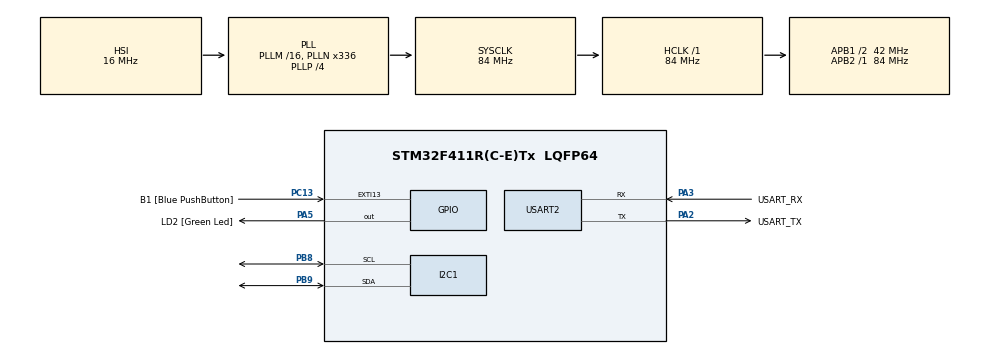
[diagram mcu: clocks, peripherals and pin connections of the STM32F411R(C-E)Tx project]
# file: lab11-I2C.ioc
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Mcu.Family=STM32F4
PC15-OSC32_OUT.Mode=LSE-External-Oscillator
RCC.CortexFreq_Value=84000000
NVIC.I2C1_EV_IRQn=true\:0\:0\:false\:false\:true\:true\:true
PC13-ANTI_TAMP.GPIO_Label=B1 [Blue PushButton]
PA14.GPIO_Label=TCK
PH1\ -\ OSC_OUT.Mode=HSE-External-Clock-Source
RCC.APB1CLKDivider=RCC_HCLK_DIV2
PC14-OSC32_IN.Signal=RCC_OSC32_IN
RCC.SYSCLKSource=RCC_SYSCLKSOURCE_PLLCLK
ProjectManager.StackSize=0x400
PA13.Signal=SYS_JTMS-SWDIO
PA3.Mode=Asynchronous
PH0\ -\ OSC_IN.Mode=HSE-External-Clock-Source
PH0\ -\ OSC_IN.Signal=RCC_OSC_IN
ProjectManager.TargetToolchain=STM32CubeIDE
I2C1.I2C_Mode=I2C_Fast
RCC.HCLKFreq_Value=84000000
PB9.Mode=I2C
RCC.APB2TimFreq_Value=84000000
PC15-OSC32_OUT.Signal=RCC_OSC32_OUT
RCC.AHBFreq_Value=84000000
PA5.Signal=GPIO_Output
RCC.HSE_VALUE=8000000
PH1\ -\ OSC_OUT.Signal=RCC_OSC_OUT
board=NUCLEO-F411RE
PC13-ANTI_TAMP.Signal=GPXTI13
RCC.VCOOutputFreq_Value=336000000
RCC.APB2Freq_Value=84000000
PC14-OSC32_IN.Mode=LSE-External-Oscillator
PA14.Mode=Serial_Wire
PA13.Mode=Serial_Wire
NVIC.I2C1_ER_IRQn=true\:0\:0\:false\:false\:true\:true\:true
Mcu.Name=STM32F411R(C-E)Tx
PA2.Signal=USART2_TX
PA13.GPIO_Label=TMS
RCC.FLatency-AdvancedSettings=FLASH_LATENCY_2
RCC.48MHZClocksFreq_Value=84000000
PB3.Signal=SYS_JTDO-SWO
RCC.SYSCLKFreq_VALUE=84000000
Mcu.Package=LQFP64
PB9.Signal=I2C1_SDA
PA5.GPIO_Label=LD2 [Green Led]
USART2.VirtualMode=VM_ASYNC
PC13-ANTI_TAMP.GPIO_ModeDefaultEXTI=GPIO_MODE_IT_FALLING
PA2.GPIO_Label=USART_TX
PA14.Signal=SYS_JTCK-SWCLK
ProjectManager.HeapSize=0x200
RCC.HSI_VALUE=16000000
RCC.PLLP=RCC_PLLP_DIV4
NVIC.PriorityGroup=NVIC_PRIORITYGROUP_0
PB8.Mode=I2C
RCC.PLLN=336
RCC.APB1TimFreq_Value=84000000
PA2.Mode=Asynchronous
PB8.Signal=I2C1_SCL
RCC.APB1Freq_Value=42000000
PA3.GPIO_Label=USART_RX
PA3.Signal=USART2_RX
PB3.GPIO_Label=SWO

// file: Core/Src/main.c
/* USER CODE BEGIN Header */
/**
 ******************************************************************************
 * @file           : main.c
 * @brief          : Main program body
 ******************************************************************************
 * @attention
 *
 * <h2><center>&copy; Copyright (c) 2021 STMicroelectronics.
 * All rights reserved.</center></h2>
 *
 * This software component is licensed by ST under BSD 3-Clause license,
 * the "License"; You may not use this file except in compliance with the
 * License. You may obtain a copy of the License at:
 *                        opensource.org/licenses/BSD-3-Clause
 *
 ******************************************************************************
 */
/* USER CODE END Header */
#include "main.h"

/* USER CODE BEGIN PD */
#define EEPROM_ADDR 0b10100000
#define IOEXPD_ADDR 0b01000000
/* USER CODE END PD */

I2C_HandleTypeDef hi2c1;

UART_HandleTypeDef huart2;

/* USER CODE BEGIN PV */
uint8_t eepromExampleWriteFlag = 0;
uint8_t eepromExampleReadFlag = 0;
uint8_t IOExpdrExampleWriteFlag = 1;
uint8_t IOExpdrExampleReadFlag = 0;
uint8_t eepromDataReadBack[4];
uint8_t IOExpdrDataReadBack;
uint8_t IOExpdrDataWrite = 0b01010101;

uint8_t B1ButtonState[2] = {1,1};
uint8_t MButtonState[4] = {0};
uint32_t ButtonTimeStamp = 0;

/* USER CODE END PV */

void SystemClock_Config(void);
static void MX_GPIO_Init(void);
static void MX_USART2_UART_Init(void);
static void MX_I2C1_Init(void);
/* USER CODE BEGIN PFP */
void EEPROMWriteExample(uint8_t Wdata);
void EEPROMReadExample(uint8_t *Rdata, uint16_t len);

void IOExpenderInit();
void IOExpenderReadPinA(uint8_t *Rdata);
void IOExpenderWritePinB(uint8_t Wdata);

/* USER CODE END PFP */

int main(void)
{

  /* MCU Configuration--------------------------------------------------------*/

  /* Reset of all peripherals, Initializes the Flash interface and the Systick. */
  HAL_Init();

  /* Configure the system clock */
  SystemClock_Config();

  /* Initialize all configured peripherals */
  MX_GPIO_Init();
  MX_USART2_UART_Init();
  MX_I2C1_Init();
  /* USER CODE BEGIN 2 */
  HAL_Delay(100);
  IOExpenderInit();
  /* USER CODE END 2 */

  /* Infinite loop */
  /* USER CODE BEGIN WHILE */
	while (1) {
		B1ButtonState[0] = HAL_GPIO_ReadPin(B1_GPIO_Port, B1_Pin);
		if(B1ButtonState[0] == 0 && B1ButtonState[1] == 1){
			IOExpdrExampleReadFlag = 1;
			eepromExampleWriteFlag = 1;
			IOExpenderReadPinA(&IOExpdrDataReadBack);
			HAL_Delay(10);
			EEPROMWriteExample(IOExpdrDataReadBack);
		}
		if(HAL_GetTick() - ButtonTimeStamp >= 100){
			ButtonTimeStamp = HAL_GetTick();
			IOExpdrExampleWriteFlag = 1;
			eepromExampleReadFlag = 1;
			HAL_Delay(10);
			EEPROMReadExample(eepromDataReadBack, 4);
			HAL_Delay(10);
			IOExpenderWritePinB(eepromDataReadBack[0] | (eepromDataReadBack[1] << 2) | (eepromDataReadBack[2] << 4) | (eepromDataReadBack[3] << 6));
			}
		B1ButtonState[1] = B1ButtonState[0];

    /* USER CODE END WHILE */

	}
}

void SystemClock_Config(void)
{
  RCC_OscInitTypeDef RCC_OscInitStruct = {0};
  RCC_ClkInitTypeDef RCC_ClkInitStruct = {0};

  /** Configure the main internal regulator output voltage
  */
  __HAL_RCC_PWR_CLK_ENABLE();
  __HAL_PWR_VOLTAGESCALING_CONFIG(PWR_REGULATOR_VOLTAGE_SCALE1);
  /** Initializes the RCC Oscillators according to the specified parameters
  * in the RCC_OscInitTypeDef structure.
  */
  RCC_OscInitStruct.OscillatorType = RCC_OSCILLATORTYPE_HSI;
  RCC_OscInitStruct.HSIState = RCC_HSI_ON;
  RCC_OscInitStruct.HSICalibrationValue = RCC_HSICALIBRATION_DEFAULT;
  RCC_OscInitStruct.PLL.PLLState = RCC_PLL_ON;
  RCC_OscInitStruct.PLL.PLLSource = RCC_PLLSOURCE_HSI;
  RCC_OscInitStruct.PLL.PLLM = 16;
  RCC_OscInitStruct.PLL.PLLN = 336;
  RCC_OscInitStruct.PLL.PLLP = RCC_PLLP_DIV4;
  RCC_OscInitStruct.PLL.PLLQ = 4;
  if (HAL_RCC_OscConfig(&RCC_OscInitStruct) != HAL_OK)
  {
    Error_Handler();
  }
  /** Initializes the CPU, AHB and APB buses clocks
  */
  RCC_ClkInitStruct.ClockType = RCC_CLOCKTYPE_HCLK|RCC_CLOCKTYPE_SYSCLK
                              |RCC_CLOCKTYPE_PCLK1|RCC_CLOCKTYPE_PCLK2;
  RCC_ClkInitStruct.SYSCLKSource = RCC_SYSCLKSOURCE_PLLCLK;
  RCC_ClkInitStruct.AHBCLKDivider = RCC_SYSCLK_DIV1;
  RCC_ClkInitStruct.APB1CLKDivider = RCC_HCLK_DIV2;
  RCC_ClkInitStruct.APB2CLKDivider = RCC_HCLK_DIV1;

  if (HAL_RCC_ClockConfig(&RCC_ClkInitStruct, FLASH_LATENCY_2) != HAL_OK)
  {
    Error_Handler();
  }
}

static void MX_I2C1_Init(void)
{

  hi2c1.Instance = I2C1;
  hi2c1.Init.ClockSpeed = 400000;
  hi2c1.Init.DutyCycle = I2C_DUTYCYCLE_2;
  hi2c1.Init.OwnAddress1 = 0;
  hi2c1.Init.AddressingMode = I2C_ADDRESSINGMODE_7BIT;
  hi2c1.Init.DualAddressMode = I2C_DUALADDRESS_DISABLE;
  hi2c1.Init.OwnAddress2 = 0;
  hi2c1.Init.GeneralCallMode = I2C_GENERALCALL_DISABLE;
  hi2c1.Init.NoStretchMode = I2C_NOSTRETCH_DISABLE;
  if (HAL_I2C_Init(&hi2c1) != HAL_OK)
  {
    Error_Handler();
  }

}

static void MX_USART2_UART_Init(void)
{

  huart2.Instance = USART2;
  huart2.Init.BaudRate = 115200;
  huart2.Init.WordLength = UART_WORDLENGTH_8B;
  huart2.Init.StopBits = UART_STOPBITS_1;
  huart2.Init.Parity = UART_PARITY_NONE;
  huart2.Init.Mode = UART_MODE_TX_RX;
  huart2.Init.HwFlowCtl = UART_HWCONTROL_NONE;
  huart2.Init.OverSampling = UART_OVERSAMPLING_16;
  if (HAL_UART_Init(&huart2) != HAL_OK)
  {
    Error_Handler();
  }

}

static void MX_GPIO_Init(void)
{
  GPIO_InitTypeDef GPIO_InitStruct = {0};

  /* GPIO Ports Clock Enable */
  __HAL_RCC_GPIOC_CLK_ENABLE();
  __HAL_RCC_GPIOH_CLK_ENABLE();
  __HAL_RCC_GPIOA_CLK_ENABLE();
  __HAL_RCC_GPIOB_CLK_ENABLE();

  /*Configure GPIO pin Output Level */
  HAL_GPIO_WritePin(LD2_GPIO_Port, LD2_Pin, GPIO_PIN_RESET);

  /*Configure GPIO pin : B1_Pin */
  GPIO_InitStruct.Pin = B1_Pin;
  GPIO_InitStruct.Mode = GPIO_MODE_IT_FALLING;
  GPIO_InitStruct.Pull = GPIO_NOPULL;
  HAL_GPIO_Init(B1_GPIO_Port, &GPIO_InitStruct);

  /*Configure GPIO pin : LD2_Pin */
  GPIO_InitStruct.Pin = LD2_Pin;
  GPIO_InitStruct.Mode = GPIO_MODE_OUTPUT_PP;
  GPIO_InitStruct.Pull = GPIO_NOPULL;
  GPIO_InitStruct.Speed = GPIO_SPEED_FREQ_LOW;
  HAL_GPIO_Init(LD2_GPIO_Port, &GPIO_InitStruct);

}

/* USER CODE BEGIN 4 */
void EEPROMWriteExample(uint8_t Wdata) {
	if (eepromExampleWriteFlag && hi2c1.State == HAL_I2C_STATE_READY) {

		MButtonState[0] = Wdata & 0b00000001;
		MButtonState[1] = (Wdata>>1) & 0b00000001;
		MButtonState[2] = (Wdata>>2) & 0b00000001;
		MButtonState[3] = (Wdata>>3) & 0b00000001;
		HAL_I2C_Mem_Write_IT(&hi2c1, EEPROM_ADDR, 0x18, I2C_MEMADD_SIZE_16BIT,MButtonState, 4);
		eepromExampleWriteFlag = 0;
	}
}
void EEPROMReadExample(uint8_t *Rdata, uint16_t len) {
	if (eepromExampleReadFlag && hi2c1.State == HAL_I2C_STATE_READY) {

		HAL_I2C_Mem_Read_IT(&hi2c1, EEPROM_ADDR, 0x18, I2C_MEMADD_SIZE_16BIT,
				Rdata, len);
		eepromExampleReadFlag = 0;
	}
}
void IOExpenderInit() {
	//Init All
	static uint8_t Setting[0x16] = { 0xFF, 0x00, 0x00, 0x00, 0x00, 0x00, 0x00,
			0x00, 0x00, 0x00, 0x00, 0x00, 0xFF, 0x00, 0x00, 0x00, 0x00, 0x00,
			0x00, 0x00, 0x00, 0x00 };
	HAL_I2C_Mem_Write(&hi2c1, IOEXPD_ADDR, 0x00, I2C_MEMADD_SIZE_8BIT, Setting,
			0x16, 100);
}
void IOExpenderReadPinA(uint8_t *Rdata) {
	if (IOExpdrExampleReadFlag && hi2c1.State == HAL_I2C_STATE_READY) {
		HAL_I2C_Mem_Read_IT(&hi2c1, IOEXPD_ADDR, 0x12, I2C_MEMADD_SIZE_8BIT,
				Rdata, 1);
		IOExpdrExampleReadFlag =0;
	}
}
void IOExpenderWritePinB(uint8_t Wdata) {
	if (IOExpdrExampleWriteFlag && hi2c1.State == HAL_I2C_STATE_READY) {
		static uint8_t data;
		data = Wdata;
		HAL_I2C_Mem_Write_IT(&hi2c1, IOEXPD_ADDR, 0x15, I2C_MEMADD_SIZE_8BIT,
				&data, 1);
		IOExpdrExampleWriteFlag=0;
	}
}
/* USER CODE END 4 */

void Error_Handler(void)
{
	__disable_irq();
	while (1) {
	}
}

/************************ (C) COPYRIGHT STMicroelectronics *****END OF FILE****/
